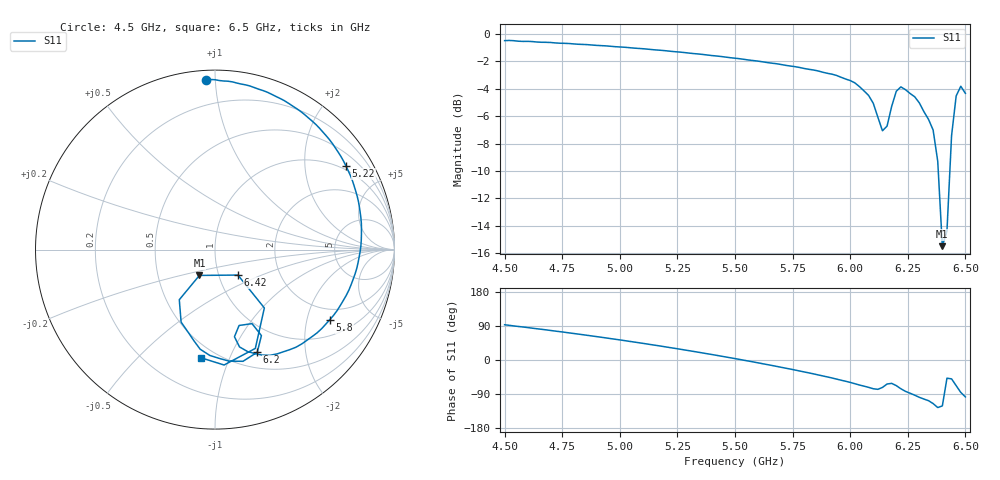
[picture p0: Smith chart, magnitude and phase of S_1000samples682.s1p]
! TOUCHSTONE file generated by CST MICROWAVE STUDIO
! Date and time: Sat Oct 29 00:35:15 2022
! Project name: L.cst
! Parameters = {Di=1.27; Epsilon_r=1.56; InnerDiameter=1.27; Length=2; Lf=10; Lg=60; OuterConductorThickness=0.2921; OuterDiameter=3.6; Wf=3; Wp=41.2; de=1.5; df=6.8; g=0.8; gx=2.76631; gy=4.20564; h=2.34; hf=1.524; px=11.0628; py=14.8247; w=9.7; wx=8.2965; wy=10.6191}
! Header version: 2018
! Port assignment regex: !\s*Touchstone port\s*([0-9]+)\s*=\s*(CST MWS port|CST DS port)\s*([0-9]+|Zmin|Zmax)\s*\(\"(.*)\"\)(\s*mode\s*([0-9]+))?.*
! Touchstone port assignment:
! Touchstone port 1 = CST MWS port 1 ("")
# GHz S DB R 50
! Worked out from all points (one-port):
!   101 points, 4.5 GHz to 6.5 GHz, reference 50 ohm
!   lowest |S11| = -15.5 dB at 6.4 GHz (marker M1), VSWR 1.40, Z = 40.4 - j12 ohm
!   |S11| at or under -10 dB: 6.382 GHz to 6.433 GHz (50.32 MHz wide, 0.785 % of centre)
!   S11 on the Smith chart (normalised r, x): 4.5 GHz: 0.05, +0.95; 5.22 GHz: 0.86, +3.21; 5.8 GHz: 1.55, -2.76; 6.2 GHz: 0.68, -1.25; 6.42 GHz: 1.23, -0.36; 6.5 GHz: 0.41, -0.79
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4.5  -0.47 93.0
4.76  -0.67 73.2
5  -0.94 53.0
5.22  -1.25 32.6
5.26  -1.31 28.7
5.5  -1.76 3.7
5.62  -2.02 -9.8
5.76  -2.38 -26.4
5.8  -2.51 -31.5
5.92  -2.92 -47.3
6  -3.39 -59.1
6.08  -4.48 -72.2
6.12  -6.06 -77.4
6.14  -7.06 -72.4
6.16  -6.72 -63.4
6.18  -5.28 -61.6
6.2  -4.18 -67.6
6.22  -3.85 -75.9
6.26  -4.34 -87.7
6.3  -5.02 -98.5
6.36  -7.01 -115.0
6.38  -9.30 -125.5
6.4  -15.49 -121.1
6.42  -14.39 -48.0
6.44  -7.42 -49.8
6.46  -4.51 -67.8
6.48  -3.81 -85.5
6.5  -4.33 -97.4
